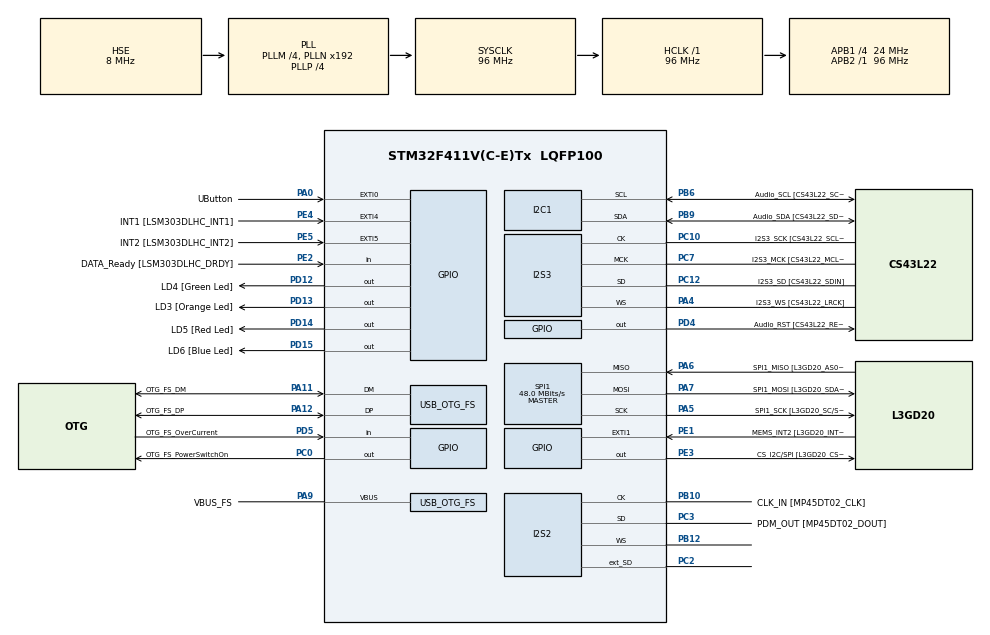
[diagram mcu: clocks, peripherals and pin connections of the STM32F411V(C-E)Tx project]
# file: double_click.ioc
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I2S2.AudioFreq=I2S_AUDIOFREQ_96K
I2S2.ErrorAudioFreq=0.15 %
I2S2.FullDuplexMode=I2S_FULLDUPLEXMODE_ENABLE
I2S2.Instance=SPI$Index
I2S2.RealAudioFreq=96.153 KHz
I2S2.VirtualMode=I2S_MODE_MASTER
I2S3.AudioFreq=I2S_AUDIOFREQ_96K
I2S3.ErrorAudioFreq=-6.99 %
I2S3.FullDuplexMode=I2S_FULLDUPLEXMODE_DISABLE
I2S3.Instance=SPI$Index
I2S3.RealAudioFreq=89.285 KHz
I2S3.VirtualMode=I2S_MODE_MASTER
Mcu.Family=STM32F4
Mcu.Name=STM32F411V(C-E)Tx
Mcu.Package=LQFP100
NVIC.EXTI0_IRQn=true\:0\:0\:false\:false\:true\:true\:true
NVIC.OTG_FS_IRQn=true\:0\:0\:false\:false\:true\:true\:true
NVIC.PriorityGroup=NVIC_PRIORITYGROUP_0
PA0-WKUP.GPIO_Label=UButton
PA0-WKUP.Signal=GPXTI0
PA10.GPIO_Label=OTG_FS_ID
PA10.Signal=USB_OTG_FS_ID
PA11.GPIO_Label=OTG_FS_DM
PA11.Mode=Host_Only
PA11.Signal=USB_OTG_FS_DM
PA12.GPIO_Label=OTG_FS_DP
PA12.Mode=Host_Only
PA12.Signal=USB_OTG_FS_DP
PA13.GPIO_Label=SWDIO
PA13.Mode=Serial_Wire
PA13.Signal=SYS_JTMS-SWDIO
PA14.GPIO_Label=SWCLK
PA14.Mode=Serial_Wire
PA14.Signal=SYS_JTCK-SWCLK
PA4.GPIO_Label=I2S3_WS [CS43L22_LRCK]
PA4.GPIO_Mode=GPIO_MODE_AF_PP
PA4.GPIO_PuPd=GPIO_NOPULL
PA4.GPIO_Speed=GPIO_SPEED_FREQ_LOW
PA4.Mode=Half_Duplex_Master
PA4.Signal=I2S3_WS
PA5.GPIO_Label=SPI1_SCK [L3GD20_SC/SPC]
PA5.Mode=Full_Duplex_Master
PA5.Signal=SPI1_SCK
PA6.GPIO_Label=SPI1_MISO [L3GD20_AS0/SDO]
PA6.Mode=Full_Duplex_Master
PA6.Signal=SPI1_MISO
PA7.GPIO_Label=SPI1_MOSI [L3GD20_SDA/SDI/SDO]
PA7.Mode=Full_Duplex_Master
PA7.Signal=SPI1_MOSI
PA9.GPIO_Label=VBUS_FS
PA9.Mode=Activate_VBUS
PA9.Signal=USB_OTG_FS_VBUS
PB10.GPIO_Label=CLK_IN [MP45DT02_CLK]
PB10.Mode=Full_Duplex_Master
PB10.Signal=I2S2_CK
PB12.Mode=Full_Duplex_Master
PB12.Signal=I2S2_WS
PB3.GPIO_Label=SWO
PB3.Signal=SYS_JTDO-SWO
PB6.GPIO_Label=Audio_SCL [CS43L22_SCL]
PB6.GPIO_Mode=GPIO_MODE_AF_OD
PB6.GPIO_PuPd=GPIO_NOPULL
PB6.GPIO_Speed=GPIO_SPEED_FREQ_LOW
PB6.Mode=I2C
PB6.Signal=I2C1_SCL
PB9.GPIO_Label=Audio_SDA [CS43L22_SDA]
PB9.GPIO_Mode=GPIO_MODE_AF_OD
PB9.GPIO_PuPd=GPIO_NOPULL
PB9.GPIO_Speed=GPIO_SPEED_FREQ_LOW
PB9.Mode=I2C
PB9.Signal=I2C1_SDA
PC0.GPIO_Label=OTG_FS_PowerSwitchOn
PC0.PinState=GPIO_PIN_SET
PC0.Signal=GPIO_Output
PC10.GPIO_Label=I2S3_SCK [CS43L22_SCLK]
PC10.GPIO_Mode=GPIO_MODE_AF_PP
PC10.GPIO_PuPd=GPIO_NOPULL
PC10.GPIO_Speed=GPIO_SPEED_FREQ_LOW
PC10.Mode=Half_Duplex_Master
PC10.Signal=I2S3_CK
PC12.GPIO_Label=I2S3_SD [CS43L22_SDIN]
PC12.GPIO_Mode=GPIO_MODE_AF_PP
PC12.GPIO_PuPd=GPIO_NOPULL
PC12.GPIO_Speed=GPIO_SPEED_FREQ_LOW
PC12.Mode=Half_Duplex_Master
PC12.Signal=I2S3_SD
PC14-OSC32_IN.GPIO_Label=PC14-OSC32_IN
PC14-OSC32_IN.Mode=LSE-External-Oscillator
PC14-OSC32_IN.Signal=RCC_OSC32_IN
PC15-OSC32_OUT.GPIO_Label=PC15-OSC32_OUT
PC15-OSC32_OUT.Mode=LSE-External-Oscillator
PC15-OSC32_OUT.Signal=RCC_OSC32_OUT
PC2.Mode=Full_Duplex_Master
PC2.Signal=I2S2_ext_SD
PC3.GPIO_Label=PDM_OUT [MP45DT02_DOUT]
PC3.Mode=Full_Duplex_Master
PC3.Signal=I2S2_SD
PC7.GPIO_Label=I2S3_MCK [CS43L22_MCLK]
PC7.GPIO_Mode=GPIO_MODE_AF_PP
PC7.GPIO_PuPd=GPIO_NOPULL
PC7.GPIO_Speed=GPIO_SPEED_FREQ_LOW
PC7.Mode=Master_Clock_Activated
PC7.Signal=I2S3_MCK
PD12.GPIO_Label=LD4 [Green Led]
PD12.GPIO_PuPd=GPIO_NOPULL
PD12.GPIO_Speed=GPIO_SPEED_FREQ_LOW
PD12.Signal=GPIO_Output
PD13.GPIO_Label=LD3 [Orange Led]
PD13.GPIO_PuPd=GPIO_NOPULL
PD13.GPIO_Speed=GPIO_SPEED_FREQ_LOW
PD13.Signal=GPIO_Output
PD14.GPIO_Label=LD5 [Red Led]
PD14.GPIO_PuPd=GPIO_NOPULL
PD14.GPIO_Speed=GPIO_SPEED_FREQ_LOW
PD14.Signal=GPIO_Output
PD15.GPIO_Label=LD6 [Blue Led]
PD15.GPIO_PuPd=GPIO_NOPULL
PD15.GPIO_Speed=GPIO_SPEED_FREQ_LOW
PD15.Signal=GPIO_Output
PD4.GPIO_Label=Audio_RST [CS43L22_RESET]
PD4.Signal=GPIO_Output
PD5.GPIO_Label=OTG_FS_OverCurrent
PD5.Signal=GPIO_Input
PE1.GPIO_Label=MEMS_INT2 [L3GD20_INT2]
PE1.GPIO_ModeDefaultEXTI=GPIO_MODE_EVT_RISING
PE1.Signal=GPXTI1
PE2.GPIO_Label=DATA_Ready [LSM303DLHC_DRDY]
PE2.Signal=GPIO_Input
PE3.GPIO_Label=CS_I2C/SPI [L3GD20_CS_I2C/SPI]
PE3.Signal=GPIO_Output
PE4.GPIO_Label=INT1 [LSM303DLHC_INT1]
PE4.GPIO_ModeDefaultEXTI=GPIO_MODE_EVT_RISING
PE4.Signal=GPXTI4
PE5.GPIO_Label=INT2 [LSM303DLHC_INT2]
PE5.GPIO_ModeDefaultEXTI=GPIO_MODE_EVT_RISING
PE5.Signal=GPXTI5
PH0\ -\ OSC_IN.GPIO_Label=PH0-OSC_IN
PH0\ -\ OSC_IN.Mode=HSE-External-Clock-Source
PH0\ -\ OSC_IN.Signal=RCC_OSC_IN
PH1\ -\ OSC_OUT.GPIO_Label=PH1-OSC_OUT
PH1\ -\ OSC_OUT.Mode=HSE-External-Clock-Source
PH1\ -\ OSC_OUT.Signal=RCC_OSC_OUT
ProjectManager.HeapSize=0x200
ProjectManager.StackSize=0x400
ProjectManager.TargetToolchain=STM32CubeIDE
RCC.48MHZClocksFreq_Value=48000000
RCC.AHBFreq_Value=96000000
RCC.APB1CLKDivider=RCC_HCLK_DIV4
RCC.APB1Freq_Value=24000000
RCC.APB1TimFreq_Value=48000000
RCC.APB2Freq_Value=96000000
RCC.APB2TimFreq_Value=96000000
RCC.CortexFreq_Value=96000000
RCC.HCLKFreq_Value=96000000
RCC.HSE_VALUE=8000000
RCC.HSI_VALUE=16000000
RCC.PLLI2SM=5
RCC.PLLI2SN=200
RCC.PLLM=4
RCC.PLLP=RCC_PLLP_DIV4
RCC.PLLQ=8
RCC.SYSCLKFreq_VALUE=96000000
RCC.SYSCLKSource=RCC_SYSCLKSOURCE_PLLCLK
RCC.VCOOutputFreq_Value=384000000
SPI1.BaudRatePrescaler=SPI_BAUDRATEPRESCALER_2
SPI1.CalculateBaudRate=48.0 MBits/s
SPI1.Direction=SPI_DIRECTION_2LINES
SPI1.Mode=SPI_MODE_MASTER
SPI1.VirtualType=VM_MASTER
USB_HOST.BSP.number=1
USB_HOST.USBH_HandleTypeDef=hUsbHostFS
USB_HOST.VirtualModeFS=Cdc
USB_HOST0.BSP.STBoard=false
USB_HOST0.BSP.api=Unknown
USB_HOST0.BSP.i2caddr=0
USB_HOST0.BSP.i2creg=0
USB_HOST0.BSP.instance=PC0
USB_HOST0.BSP.ip=GPIO
USB_HOST0.BSP.mode=Output
USB_HOST0.BSP.name=Drive_VBUS_FS
USB_HOST0.BSP.solution=PC0
USB_OTG_FS.VirtualMode=Host_Only
USB_OTG_FS.phy_itface=HCD_PHY_EMBEDDED
VP_USB_HOST_VS_USB_HOST_CDC_FS.Mode=CDC_FS
board=STM32F411E-DISCO

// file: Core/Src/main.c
/* USER CODE BEGIN Header */
/**
  ******************************************************************************
  * @file           : main.c
  * @brief          : Main program body
  ******************************************************************************
  * @attention
  *
  * <h2><center>&copy; Copyright (c) 2020 STMicroelectronics.
  * All rights reserved.</center></h2>
  *
  * This software component is licensed by ST under Ultimate Liberty license
  * SLA0044, the "License"; You may not use this file except in compliance with
  * the License. You may obtain a copy of the License at:
  *                             www.st.com/SLA0044
  *
  ******************************************************************************
  */
/* USER CODE END Header */

#include "main.h"
#include "usb_host.h"

I2C_HandleTypeDef hi2c1;

I2S_HandleTypeDef hi2s2;
I2S_HandleTypeDef hi2s3;

SPI_HandleTypeDef hspi1;

void SystemClock_Config(void);
static void MX_GPIO_Init(void);
static void MX_I2C1_Init(void);
static void MX_I2S2_Init(void);
static void MX_I2S3_Init(void);
static void MX_SPI1_Init(void);
void MX_USB_HOST_Process(void);

/* USER CODE BEGIN PFP */
volatile uint8_t direction = 0;
volatile uint8_t pressed_times = 0;
volatile uint8_t do_boom = 0;

void HAL_GPIO_EXTI_Callback(uint16_t GPIO_Pin)
{
	if( GPIO_Pin == UButton_Pin)
	{
		static uint32_t last_change_tick;

		if (pressed_times){
            if( HAL_GetTick() - last_change_tick < 100 ){
                return;
            }
		} else {
            if( HAL_GetTick() - last_change_tick < 200 ){
                return;
            }
		}

		// Pressed once
		++pressed_times;

		// If much time went from the last , then this is not double click
		if( HAL_GetTick() - last_change_tick > 600){
		    pressed_times = pressed_times <= 1 ? 0 : 1;
		}
		last_change_tick = HAL_GetTick();

		// If this is double click:
		if (pressed_times > 1){
            pressed_times = 0;
			do_boom++;
		}
		// If this is not double click, then change direction
		else{
            direction = direction ? 0 : 1;
		}
	}
}
/* USER CODE END PFP */

/* USER CODE BEGIN 0 */
int delay = 100;
int PINS[4]={GPIO_PIN_12, GPIO_PIN_13, GPIO_PIN_14, GPIO_PIN_15};
int FIRST_PIN = 1;
int SECOND_PIN = 0;
int CURRENT, PREVIOUS;
void diodes(int direction){
    CURRENT = direction ? FIRST_PIN : SECOND_PIN;
    PREVIOUS = direction ? SECOND_PIN : FIRST_PIN;

    // Turn diode ON / OFF
    HAL_GPIO_WritePin(GPIOD, PINS[CURRENT], GPIO_PIN_SET);
    HAL_GPIO_WritePin(GPIOD, PINS[PREVIOUS], GPIO_PIN_RESET);

    // Fade
    for(int i = 0; i < 10; ++i){
        HAL_GPIO_WritePin(GPIOD, PINS[PREVIOUS], GPIO_PIN_SET);
        HAL_Delay(10-i);
        HAL_GPIO_WritePin(GPIOD, PINS[PREVIOUS], GPIO_PIN_RESET);
        HAL_Delay(2*i);
    }

    // Change pins due to direction
    if (direction){
        FIRST_PIN = FIRST_PIN == 3 ? 0 : FIRST_PIN + 1;
        SECOND_PIN = SECOND_PIN == 3 ? 0 : SECOND_PIN + 1;
    } else {
        FIRST_PIN = FIRST_PIN == 0 ? 3 : FIRST_PIN - 1;
        SECOND_PIN = SECOND_PIN == 0 ? 3 : SECOND_PIN - 1;
    }

    HAL_Delay(delay);
}

int fade_var = 10;
int K = 5;
void boom(){
    // lights up
	for(int i = 0; i < fade_var; ++i){
		for (int k = 0 ; k < K; k++){
			HAL_GPIO_WritePin(GPIOD, GPIO_PIN_12, GPIO_PIN_SET);
			HAL_GPIO_WritePin(GPIOD, GPIO_PIN_13, GPIO_PIN_SET);
			HAL_GPIO_WritePin(GPIOD, GPIO_PIN_14, GPIO_PIN_SET);
			HAL_GPIO_WritePin(GPIOD, GPIO_PIN_15, GPIO_PIN_SET);
			HAL_Delay(2*i);

			HAL_GPIO_WritePin(GPIOD, GPIO_PIN_12, GPIO_PIN_RESET);
			HAL_GPIO_WritePin(GPIOD, GPIO_PIN_13, GPIO_PIN_RESET);
			HAL_GPIO_WritePin(GPIOD, GPIO_PIN_14, GPIO_PIN_RESET);
			HAL_GPIO_WritePin(GPIOD, GPIO_PIN_15, GPIO_PIN_RESET);
			HAL_Delay(10-i);
		}
	}
	// fades
	for(int i = 0; i < 10; ++i){
		for (int k = 0 ; k < 3; k++){
			HAL_GPIO_WritePin(GPIOD, GPIO_PIN_12, GPIO_PIN_SET);
			HAL_GPIO_WritePin(GPIOD, GPIO_PIN_13, GPIO_PIN_SET);
			HAL_GPIO_WritePin(GPIOD, GPIO_PIN_14, GPIO_PIN_SET);
			HAL_GPIO_WritePin(GPIOD, GPIO_PIN_15, GPIO_PIN_SET);
			HAL_Delay(10 - i);

			HAL_GPIO_WritePin(GPIOD, GPIO_PIN_12, GPIO_PIN_RESET);
			HAL_GPIO_WritePin(GPIOD, GPIO_PIN_13, GPIO_PIN_RESET);
			HAL_GPIO_WritePin(GPIOD, GPIO_PIN_14, GPIO_PIN_RESET);
			HAL_GPIO_WritePin(GPIOD, GPIO_PIN_15, GPIO_PIN_RESET);
			HAL_Delay(2*i);
		}
	}

}
/* USER CODE END 0 */

int main(void)
{

  /* MCU Configuration--------------------------------------------------------*/

  /* Reset of all peripherals, Initializes the Flash interface and the Systick. */
  HAL_Init();

  /* Configure the system clock */
  SystemClock_Config();

  /* Initialize all configured peripherals */
  MX_GPIO_Init();
  MX_I2C1_Init();
  MX_I2S2_Init();
  MX_I2S3_Init();
  MX_SPI1_Init();
  MX_USB_HOST_Init();

  /* Infinite loop */
  while (1)
  {
    MX_USB_HOST_Process();
    if (do_boom){
		  boom();
		  do_boom=0;
	  }
	  diodes(direction);
  }
}

void SystemClock_Config(void)
{
  RCC_OscInitTypeDef RCC_OscInitStruct = {0};
  RCC_ClkInitTypeDef RCC_ClkInitStruct = {0};
  RCC_PeriphCLKInitTypeDef PeriphClkInitStruct = {0};

  /** Configure the main internal regulator output voltage
  */
  __HAL_RCC_PWR_CLK_ENABLE();
  __HAL_PWR_VOLTAGESCALING_CONFIG(PWR_REGULATOR_VOLTAGE_SCALE1);
  /** Initializes the CPU, AHB and APB busses clocks
  */
  RCC_OscInitStruct.OscillatorType = RCC_OSCILLATORTYPE_HSE;
  RCC_OscInitStruct.HSEState = RCC_HSE_BYPASS;
  RCC_OscInitStruct.PLL.PLLState = RCC_PLL_ON;
  RCC_OscInitStruct.PLL.PLLSource = RCC_PLLSOURCE_HSE;
  RCC_OscInitStruct.PLL.PLLM = 4;
  RCC_OscInitStruct.PLL.PLLN = 192;
  RCC_OscInitStruct.PLL.PLLP = RCC_PLLP_DIV4;
  RCC_OscInitStruct.PLL.PLLQ = 8;
  if (HAL_RCC_OscConfig(&RCC_OscInitStruct) != HAL_OK)
  {
    Error_Handler();
  }
  /** Initializes the CPU, AHB and APB busses clocks
  */
  RCC_ClkInitStruct.ClockType = RCC_CLOCKTYPE_HCLK|RCC_CLOCKTYPE_SYSCLK
                              |RCC_CLOCKTYPE_PCLK1|RCC_CLOCKTYPE_PCLK2;
  RCC_ClkInitStruct.SYSCLKSource = RCC_SYSCLKSOURCE_PLLCLK;
  RCC_ClkInitStruct.AHBCLKDivider = RCC_SYSCLK_DIV1;
  RCC_ClkInitStruct.APB1CLKDivider = RCC_HCLK_DIV4;
  RCC_ClkInitStruct.APB2CLKDivider = RCC_HCLK_DIV1;

  if (HAL_RCC_ClockConfig(&RCC_ClkInitStruct, FLASH_LATENCY_3) != HAL_OK)
  {
    Error_Handler();
  }
  PeriphClkInitStruct.PeriphClockSelection = RCC_PERIPHCLK_I2S;
  PeriphClkInitStruct.PLLI2S.PLLI2SN = 200;
  PeriphClkInitStruct.PLLI2S.PLLI2SM = 5;
  PeriphClkInitStruct.PLLI2S.PLLI2SR = 2;
  if (HAL_RCCEx_PeriphCLKConfig(&PeriphClkInitStruct) != HAL_OK)
  {
    Error_Handler();
  }
}

static void MX_I2C1_Init(void)
{

  hi2c1.Instance = I2C1;
  hi2c1.Init.ClockSpeed = 100000;
  hi2c1.Init.DutyCycle = I2C_DUTYCYCLE_2;
  hi2c1.Init.OwnAddress1 = 0;
  hi2c1.Init.AddressingMode = I2C_ADDRESSINGMODE_7BIT;
  hi2c1.Init.DualAddressMode = I2C_DUALADDRESS_DISABLE;
  hi2c1.Init.OwnAddress2 = 0;
  hi2c1.Init.GeneralCallMode = I2C_GENERALCALL_DISABLE;
  hi2c1.Init.NoStretchMode = I2C_NOSTRETCH_DISABLE;
  if (HAL_I2C_Init(&hi2c1) != HAL_OK)
  {
    Error_Handler();
  }

}

static void MX_I2S2_Init(void)
{

  hi2s2.Instance = SPI2;
  hi2s2.Init.Mode = I2S_MODE_MASTER_TX;
  hi2s2.Init.Standard = I2S_STANDARD_PHILIPS;
  hi2s2.Init.DataFormat = I2S_DATAFORMAT_16B;
  hi2s2.Init.MCLKOutput = I2S_MCLKOUTPUT_DISABLE;
  hi2s2.Init.AudioFreq = I2S_AUDIOFREQ_96K;
  hi2s2.Init.CPOL = I2S_CPOL_LOW;
  hi2s2.Init.ClockSource = I2S_CLOCK_PLL;
  hi2s2.Init.FullDuplexMode = I2S_FULLDUPLEXMODE_ENABLE;
  if (HAL_I2S_Init(&hi2s2) != HAL_OK)
  {
    Error_Handler();
  }

}

static void MX_I2S3_Init(void)
{

  hi2s3.Instance = SPI3;
  hi2s3.Init.Mode = I2S_MODE_MASTER_TX;
  hi2s3.Init.Standard = I2S_STANDARD_PHILIPS;
  hi2s3.Init.DataFormat = I2S_DATAFORMAT_16B;
  hi2s3.Init.MCLKOutput = I2S_MCLKOUTPUT_ENABLE;
  hi2s3.Init.AudioFreq = I2S_AUDIOFREQ_96K;
  hi2s3.Init.CPOL = I2S_CPOL_LOW;
  hi2s3.Init.ClockSource = I2S_CLOCK_PLL;
  hi2s3.Init.FullDuplexMode = I2S_FULLDUPLEXMODE_DISABLE;
  if (HAL_I2S_Init(&hi2s3) != HAL_OK)
  {
    Error_Handler();
  }

}

static void MX_SPI1_Init(void)
{

  /* SPI1 parameter configuration*/
  hspi1.Instance = SPI1;
  hspi1.Init.Mode = SPI_MODE_MASTER;
  hspi1.Init.Direction = SPI_DIRECTION_2LINES;
  hspi1.Init.DataSize = SPI_DATASIZE_8BIT;
  hspi1.Init.CLKPolarity = SPI_POLARITY_LOW;
  hspi1.Init.CLKPhase = SPI_PHASE_1EDGE;
  hspi1.Init.NSS = SPI_NSS_SOFT;
  hspi1.Init.BaudRatePrescaler = SPI_BAUDRATEPRESCALER_2;
  hspi1.Init.FirstBit = SPI_FIRSTBIT_MSB;
  hspi1.Init.TIMode = SPI_TIMODE_DISABLE;
  hspi1.Init.CRCCalculation = SPI_CRCCALCULATION_DISABLE;
  hspi1.Init.CRCPolynomial = 10;
  if (HAL_SPI_Init(&hspi1) != HAL_OK)
  {
    Error_Handler();
  }

}

static void MX_GPIO_Init(void)
{
  GPIO_InitTypeDef GPIO_InitStruct = {0};

  /* GPIO Ports Clock Enable */
  __HAL_RCC_GPIOE_CLK_ENABLE();
  __HAL_RCC_GPIOC_CLK_ENABLE();
  __HAL_RCC_GPIOH_CLK_ENABLE();
  __HAL_RCC_GPIOA_CLK_ENABLE();
  __HAL_RCC_GPIOB_CLK_ENABLE();
  __HAL_RCC_GPIOD_CLK_ENABLE();

  /*Configure GPIO pin Output Level */
  HAL_GPIO_WritePin(CS_I2C_SPI_GPIO_Port, CS_I2C_SPI_Pin, GPIO_PIN_RESET);

  /*Configure GPIO pin Output Level */
  HAL_GPIO_WritePin(OTG_FS_PowerSwitchOn_GPIO_Port, OTG_FS_PowerSwitchOn_Pin, GPIO_PIN_SET);

  /*Configure GPIO pin Output Level */
  HAL_GPIO_WritePin(GPIOD, LD4_Pin|LD3_Pin|LD5_Pin|LD6_Pin
                          |Audio_RST_Pin, GPIO_PIN_RESET);

  /*Configure GPIO pin : DATA_Ready_Pin */
  GPIO_InitStruct.Pin = DATA_Ready_Pin;
  GPIO_InitStruct.Mode = GPIO_MODE_INPUT;
  GPIO_InitStruct.Pull = GPIO_NOPULL;
  HAL_GPIO_Init(DATA_Ready_GPIO_Port, &GPIO_InitStruct);

  /*Configure GPIO pin : CS_I2C_SPI_Pin */
  GPIO_InitStruct.Pin = CS_I2C_SPI_Pin;
  GPIO_InitStruct.Mode = GPIO_MODE_OUTPUT_PP;
  GPIO_InitStruct.Pull = GPIO_NOPULL;
  GPIO_InitStruct.Speed = GPIO_SPEED_FREQ_LOW;
  HAL_GPIO_Init(CS_I2C_SPI_GPIO_Port, &GPIO_InitStruct);

  /*Configure GPIO pins : INT1_Pin INT2_Pin MEMS_INT2_Pin */
  GPIO_InitStruct.Pin = INT1_Pin|INT2_Pin|MEMS_INT2_Pin;
  GPIO_InitStruct.Mode = GPIO_MODE_EVT_RISING;
  GPIO_InitStruct.Pull = GPIO_NOPULL;
  HAL_GPIO_Init(GPIOE, &GPIO_InitStruct);

  /*Configure GPIO pin : OTG_FS_PowerSwitchOn_Pin */
  GPIO_InitStruct.Pin = OTG_FS_PowerSwitchOn_Pin;
  GPIO_InitStruct.Mode = GPIO_MODE_OUTPUT_PP;
  GPIO_InitStruct.Pull = GPIO_NOPULL;
  GPIO_InitStruct.Speed = GPIO_SPEED_FREQ_LOW;
  HAL_GPIO_Init(OTG_FS_PowerSwitchOn_GPIO_Port, &GPIO_InitStruct);

  /*Configure GPIO pin : UButton_Pin */
  GPIO_InitStruct.Pin = UButton_Pin;
  GPIO_InitStruct.Mode = GPIO_MODE_IT_RISING;
  GPIO_InitStruct.Pull = GPIO_NOPULL;
  HAL_GPIO_Init(UButton_GPIO_Port, &GPIO_InitStruct);

  /*Configure GPIO pins : LD4_Pin LD3_Pin LD5_Pin LD6_Pin
                           Audio_RST_Pin */
  GPIO_InitStruct.Pin = LD4_Pin|LD3_Pin|LD5_Pin|LD6_Pin
                          |Audio_RST_Pin;
  GPIO_InitStruct.Mode = GPIO_MODE_OUTPUT_PP;
  GPIO_InitStruct.Pull = GPIO_NOPULL;
  GPIO_InitStruct.Speed = GPIO_SPEED_FREQ_LOW;
  HAL_GPIO_Init(GPIOD, &GPIO_InitStruct);

  /*Configure GPIO pin : OTG_FS_OverCurrent_Pin */
  GPIO_InitStruct.Pin = OTG_FS_OverCurrent_Pin;
  GPIO_InitStruct.Mode = GPIO_MODE_INPUT;
  GPIO_InitStruct.Pull = GPIO_NOPULL;
  HAL_GPIO_Init(OTG_FS_OverCurrent_GPIO_Port, &GPIO_InitStruct);

  /* EXTI interrupt init*/
  HAL_NVIC_SetPriority(EXTI0_IRQn, 0, 0);
  HAL_NVIC_EnableIRQ(EXTI0_IRQn);

}

void Error_Handler(void)
{
}

/************************ (C) COPYRIGHT STMicroelectronics *****END OF FILE****/
